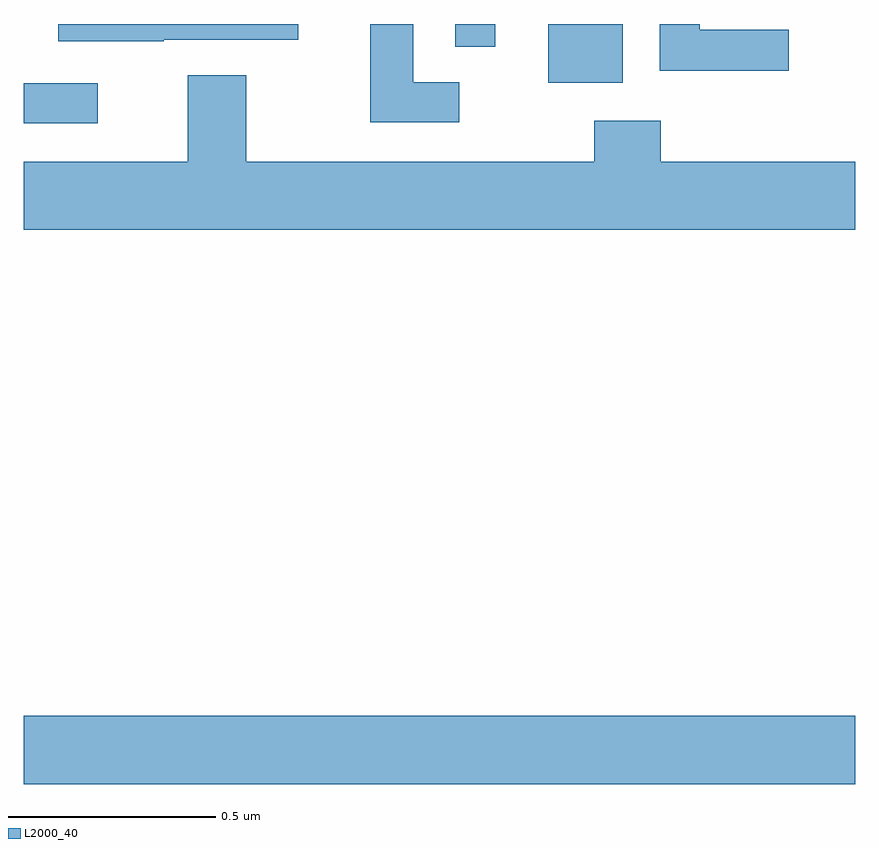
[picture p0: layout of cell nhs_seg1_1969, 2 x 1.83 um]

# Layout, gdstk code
import gdstk
lib = gdstk.Library(unit=1e-6, precision=1e-09)
def R(c, l, rs):  # rectangles x0, y0, x1, y1
    for r in rs: c.add(gdstk.rectangle(r[:2], r[2:], *l))
def P(c, l, *ps):  # polygons
    for p in ps: c.add(gdstk.Polygon(p, *l))
L2000_40 = (2000, 40)

nhs_seg1_1969 = lib.new_cell('nhs_seg1_1969')
R(nhs_seg1_1969, L2000_40, [(135,578.372,137,578.536), (135,579.96,135.178,580.056), (136.262,580.058,136.441,580.199), (136.038,580.144,136.134,580.199)])
P(nhs_seg1_1969, L2000_40, [(136.048,580.059),(135.937,580.059),(135.937,580.199),(135.833,580.199),(135.833,579.963),(136.048,579.963)],
  [(135.337,580.161),(135.661,580.161),(135.661,580.199),(135.083,580.199),(135.083,580.157),(135.337,580.157)],
  [(136.84,580.185),(136.626,580.185),(136.626,580.199),(136.53,580.199),(136.53,580.087),(136.84,580.087)],
  [(137,579.868),(136.532,579.868),(136.532,579.967),(136.372,579.967),(136.372,579.868),(135.535,579.868),(135.535,580.076),(135.395,580.076),(135.395,579.868),(135,579.868),(135,579.704),(137,579.704)])

lib.write_gds('nhs_seg1_1969.gds')
